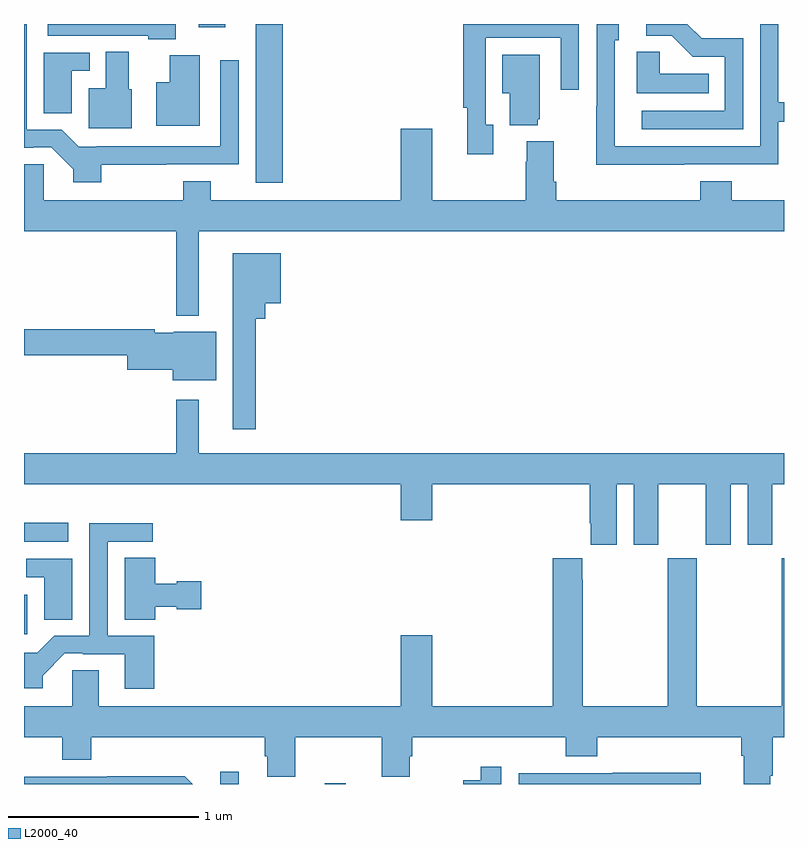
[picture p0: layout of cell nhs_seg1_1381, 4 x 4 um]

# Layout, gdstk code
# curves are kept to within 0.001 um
import gdstk
lib = gdstk.Library(unit=1e-6, precision=1e-09)
def R(c, l, rs):  # rectangles x0, y0, x1, y1
    for r in rs: c.add(gdstk.rectangle(r[:2], r[2:], *l))
def P(c, l, *ps):  # polygons
    for p in ps: c.add(gdstk.Polygon(p, *l))
L2000_40 = (2000, 40)

nhs_seg1_1381 = lib.new_cell('nhs_seg1_1381')
R(nhs_seg1_1381, L2000_40, [(188.034,506.199,188.131,506.263), (188.582,506.199,188.693,506.203), (187,506.987,187.018,507.196), (187,507.473,187.234,507.574), (188.219,509.364,188.363,510.199), (187.919,510.183,188.059,510.199)])
P(nhs_seg1_1381, L2000_40, [(190.785,510.123),(190.566,510.123),(190.49,510.199),(190.275,510.199),(190.275,510.138),(190.409,510.138),(190.52,510.027),(190.689,510.027),(190.689,509.742),(190.251,509.742),(190.251,509.646),(190.785,509.646)],
  [(190.475,509.46),(190.971,509.46),(190.971,509.685),(191,509.685),(191,509.786),(190.971,509.786),(190.971,510.199),(190.875,510.199),(190.875,509.556),(190.11,509.556),(190.11,510.114),(190.129,510.114),(190.129,510.199),(190.014,510.199),(190.014,509.765),(190.012,509.765),(190.012,509.459),(190.475,509.459)],
  [(187.798,510.199),(187.125,510.199),(187.125,510.137),(187.653,510.137),(187.653,510.119),(187.798,510.119)],
  [(189.469,509.67),(189.429,509.67),(189.429,510.126),(189.825,510.126),(189.825,509.853),(189.921,509.853),(189.921,510.199),(189.313,510.199),(189.313,509.758),(189.332,509.758),(189.332,509.514),(189.469,509.514)],
  [(187.407,509.459),(188.13,509.46),(188.13,510.007),(188.034,510.007),(188.034,509.556),(187.384,509.556),(187.384,509.553),(187.288,509.553),(187.198,509.643),(187.014,509.643),(187.014,510.199),(187,510.199),(187,509.547),(187.049,509.547),(187.049,509.55),(187.143,509.55),(187.259,509.434),(187.259,509.366),(187.407,509.366)],
  [(190.604,509.938),(190.347,509.938),(190.347,510.053),(190.226,510.053),(190.226,509.834),(190.604,509.834)],
  [(187.567,509.856),(187.552,509.856),(187.552,510.052),(187.43,510.052),(187.43,509.86),(187.34,509.86),(187.34,509.651),(187.567,509.651)],
  [(187.252,509.952),(187.345,509.952),(187.345,510.048),(187.103,510.048),(187.103,509.728),(187.252,509.728)],
  [(189.704,509.697),(189.715,509.697),(189.715,510.037),(189.518,510.037),(189.518,509.834),(189.557,509.834),(189.557,509.666),(189.704,509.666)],
  [(187.924,510.034),(187.766,510.034),(187.766,509.893),(187.697,509.893),(187.697,509.663),(187.924,509.663)],
  [(187.921,509.108),(191,509.108),(191,509.272),(190.724,509.272),(190.724,509.371),(190.559,509.371),(190.559,509.272),(189.8,509.272),(189.8,509.368),(189.787,509.368),(189.787,509.581),(189.647,509.581),(189.647,509.474),(189.64,509.474),(189.64,509.272),(189.148,509.272),(189.148,509.647),(188.984,509.647),(188.984,509.272),(187.984,509.272),(187.984,509.371),(187.837,509.371),(187.837,509.272),(187.104,509.272),(187.104,509.462),(187,509.462),(187,509.108),(187.8,509.108),(187.8,508.664),(187.921,508.664)],
  [(188.221,508.649),(188.27,508.649),(188.27,508.73),(188.35,508.73),(188.35,508.993),(188.099,508.993),(188.099,508.065),(188.221,508.065)],
  [(188.011,508.579),(187.788,508.579),(187.788,508.573),(187.688,508.573),(187.688,508.592),(187,508.592),(187,508.456),(187.544,508.456),(187.544,508.379),(187.784,508.379),(187.784,508.325),(188.011,508.325)],
  [(190.12,507.776),(190.208,507.776),(190.208,507.459),(190.339,507.459),(190.339,507.776),(190.589,507.776),(190.589,507.459),(190.72,507.459),(190.72,507.776),(190.808,507.776),(190.808,507.459),(190.939,507.459),(190.939,507.776),(191,507.776),(191,507.94),(187.921,507.94),(187.921,508.222),(187.8,508.222),(187.8,507.94),(187,507.94),(187,507.776),(188.984,507.776),(188.984,507.588),(189.148,507.588),(189.148,507.776),(189.977,507.776),(189.977,507.571),(189.983,507.571),(189.983,507.459),(190.12,507.459)],
  [(187.685,506.979),(187.44,506.979),(187.44,507.474),(187.678,507.474),(187.678,507.572),(187.344,507.572),(187.344,506.979),(187.16,506.979),(187.07,506.889),(187,506.889),(187,506.702),(187.099,506.702),(187.099,506.77),(187.215,506.886),(187.309,506.886),(187.309,506.883),(187.529,506.883),(187.529,506.7),(187.685,506.7)],
  [(187.69,507.131),(187.803,507.131),(187.803,507.119),(187.933,507.119),(187.933,507.266),(187.803,507.266),(187.803,507.253),(187.69,507.253),(187.69,507.389),(187.529,507.389),(187.529,507.064),(187.69,507.064)],
  [(190.927,506.242),(190.94,506.242),(190.94,506.444),(191,506.444),(191,507.388),(190.987,507.388),(190.987,506.608),(190.542,506.608),(190.542,507.388),(190.387,507.388),(190.387,506.608),(189.942,506.608),(189.942,507.275),(189.937,507.275),(189.937,507.388),(189.782,507.388),(189.782,506.608),(189.148,506.608),(189.148,506.983),(188.984,506.983),(188.984,506.608),(187.393,506.608),(187.393,506.798),(187.254,506.798),(187.254,506.608),(187,506.608),(187,506.444),(187.202,506.444),(187.202,506.327),(187.355,506.327),(187.355,506.444),(188.267,506.444),(188.267,506.346),(188.279,506.346),(188.279,506.236),(188.427,506.236),(188.427,506.444),(188.884,506.444),(188.884,506.236),(189.031,506.236),(189.031,506.346),(189.044,506.346),(189.044,506.444),(189.851,506.444),(189.851,506.345),(190.016,506.345),(190.016,506.444),(190.775,506.444),(190.775,506.348),(190.787,506.348),(190.787,506.199),(190.927,506.199)],
  [(187.255,507.384),(187.013,507.384),(187.013,507.288),(187.106,507.288),(187.106,507.064),(187.255,507.064)],
  [(189.513,506.29),(189.405,506.29),(189.405,506.22),(189.312,506.22),(189.312,506.199),(189.513,506.199)],
  [(190.563,506.258),(190.099,506.258),(190.099,506.256),(189.603,506.256),(189.603,506.199),(190.563,506.199)],
  [(187.846,506.24),(187.438,506.24),(187.438,506.238),(187,506.238),(187,506.199),(187.887,506.199)])

lib.write_gds('nhs_seg1_1381.gds')
